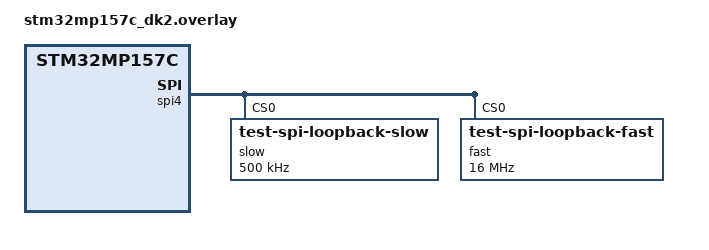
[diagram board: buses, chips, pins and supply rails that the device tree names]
/*
 * SPDX-License-Identifier: Apache-2.0
 */

&dma1 {
	status = "okay";
};

&dma2 {
	status = "okay";
};

tst_dma0: &dmamux {
	status = "okay";
};

&dmamux {
	status = "okay";
};

&spi4 {
	slow@0 {
		compatible = "test-spi-loopback-slow";
		reg = <0>;
		spi-max-frequency = <500000>;
	};
	fast@0 {
		compatible = "test-spi-loopback-fast";
		reg = <0>;
		spi-max-frequency = <16000000>;
	};
};
